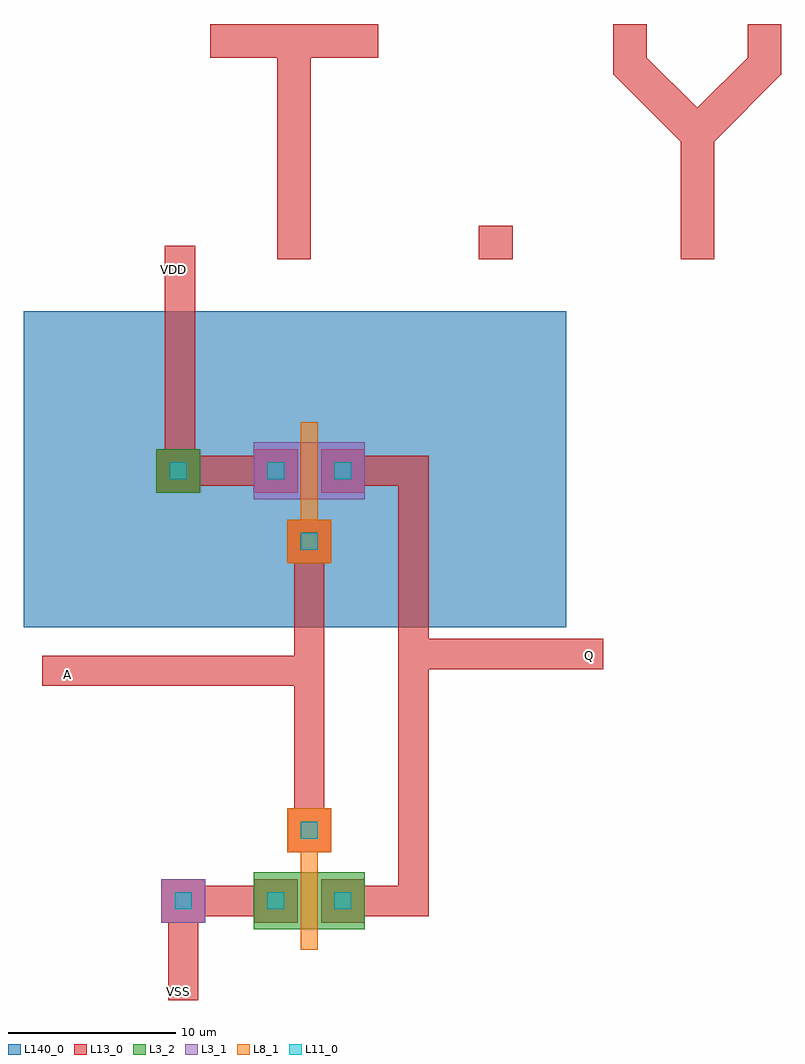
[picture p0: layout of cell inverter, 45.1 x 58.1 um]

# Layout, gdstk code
import gdstk
lib = gdstk.Library(unit=1e-6, precision=1e-07)
def R(c, l, rs):  # rectangles x0, y0, x1, y1
    for r in rs: c.add(gdstk.rectangle(r[:2], r[2:], *l))
def P(c, l, *ps):  # polygons
    for p in ps: c.add(gdstk.Polygon(p, *l))
L3_1 = (3, 1)
L3_2 = (3, 2)
L8_1 = (8, 1)
L11_0 = (11, 0)
L13_0 = (13, 0)
L140_0 = (140, 0)

cont_g = lib.new_cell('cont_g')
R(cont_g, L8_1, [(-1.3,-1.3,1.3,1.3)])
R(cont_g, L11_0, [(-0.5,-0.5,0.5,0.5)])
R(cont_g, L13_0, [(-1.3,-1.3,1.3,1.3)])

cont_n = lib.new_cell('cont_n')
R(cont_n, L3_2, [(-1.3,-1.3,1.3,1.3)])
R(cont_n, L11_0, [(-0.5,-0.5,0.5,0.5)])
R(cont_n, L13_0, [(-1.3,-1.3,1.3,1.3)])

cont_p = lib.new_cell('cont_p')
R(cont_p, L3_1, [(-1.3,-1.3,1.3,1.3)])
R(cont_p, L11_0, [(-0.5,-0.5,0.5,0.5)])
R(cont_p, L13_0, [(-1.3,-1.3,1.3,1.3)])

fet_n = lib.new_cell('fet_n')
R(fet_n, L3_2, [(-3.3,-1.7,3.3,1.7)])
R(fet_n, L11_0, [(-2.5,-0.5,-1.5,0.5), (1.5,-0.5,2.5,0.5)])
R(fet_n, L13_0, [(-3.3,-1.3,-0.7,1.3), (0.7,-1.3,3.3,1.3)])
fet_n.add(gdstk.FlexPath([(0,-2.9),(0,2.9)], 1, ends="flush", simple_path=True, layer=8, datatype=1))  # L8_1

fet_p = lib.new_cell('fet_p')
R(fet_p, L3_1, [(-3.3,-1.7,3.3,1.7)])
R(fet_p, L11_0, [(-2.5,-0.5,-1.5,0.5), (1.5,-0.5,2.5,0.5)])
R(fet_p, L13_0, [(-3.3,-1.3,-0.7,1.3), (0.7,-1.3,3.3,1.3)])
fet_p.add(gdstk.FlexPath([(0,-2.9),(0,2.9)], 1, ends="flush", simple_path=True, layer=8, datatype=1))  # L8_1

text = lib.new_cell('TEXT')
R(text, L13_0, [(16,0,18,2)])
P(text, L13_0, [(4,0),(4,12),(0,12),(0,14),(10,14),(10,12),(6,12),(6,0)],
  [(28,0),(28,7),(24,11),(24,14),(26,14),(26,12),(29,9),(32,12),(32,14),(34,14),(34,11),(30,7),(30,0)])

inverter = lib.new_cell('inverter')
R(inverter, L140_0, [(-15,8.7,17.3,27.5)])
inverter.add(gdstk.FlexPath([(2,14.3),(2,-3.9)], 1.8, ends="flush", simple_path=True, layer=13, datatype=0))  # L13_0
inverter.add(gdstk.FlexPath([(2.2,6.1),(-13.9,6.1)], 1.8, ends="flush", simple_path=True, layer=13, datatype=0))  # L13_0
inverter.add(gdstk.FlexPath([(3.5,18),(8.2,18),(8.2,-7.6),(3.5,-7.6)], 1.8, ends="flush", simple_path=True, layer=13, datatype=0))  # L13_0
inverter.add(gdstk.FlexPath([(8.2,7.1),(19.5,7.1)], 1.8, ends="flush", simple_path=True, layer=13, datatype=0))  # L13_0
inverter.add(gdstk.FlexPath([(0.5,18),(-5.7,18),(-5.7,31.4)], 1.8, ends="flush", simple_path=True, layer=13, datatype=0))  # L13_0
inverter.add(gdstk.FlexPath([(-0.3,-7.6),(-5.5,-7.6),(-5.5,-13.5)], 1.8, ends="flush", simple_path=True, layer=13, datatype=0))  # L13_0
inverter.add(gdstk.Reference(cont_g, (2,13.8)))
inverter.add(gdstk.Reference(cont_g, (2,-3.4)))
inverter.add(gdstk.Reference(cont_n, (-5.8,18)))
inverter.add(gdstk.Reference(cont_p, (-5.5,-7.6)))
inverter.add(gdstk.Reference(fet_n, (2,-7.6)))
inverter.add(gdstk.Reference(fet_p, (2,18)))
inverter.add(gdstk.Reference(text, (-3.9,30.6)))
inverter.add(gdstk.Label('A', (-12.4,5.9), layer=48, texttype=0))
inverter.add(gdstk.Label('Q', (18.7,7), layer=48, texttype=0))
inverter.add(gdstk.Label('VDD', (-6.1,30), layer=48, texttype=0))
inverter.add(gdstk.Label('VSS', (-5.8,-13), layer=48, texttype=0))

lib.write_gds('inverter.gds')
